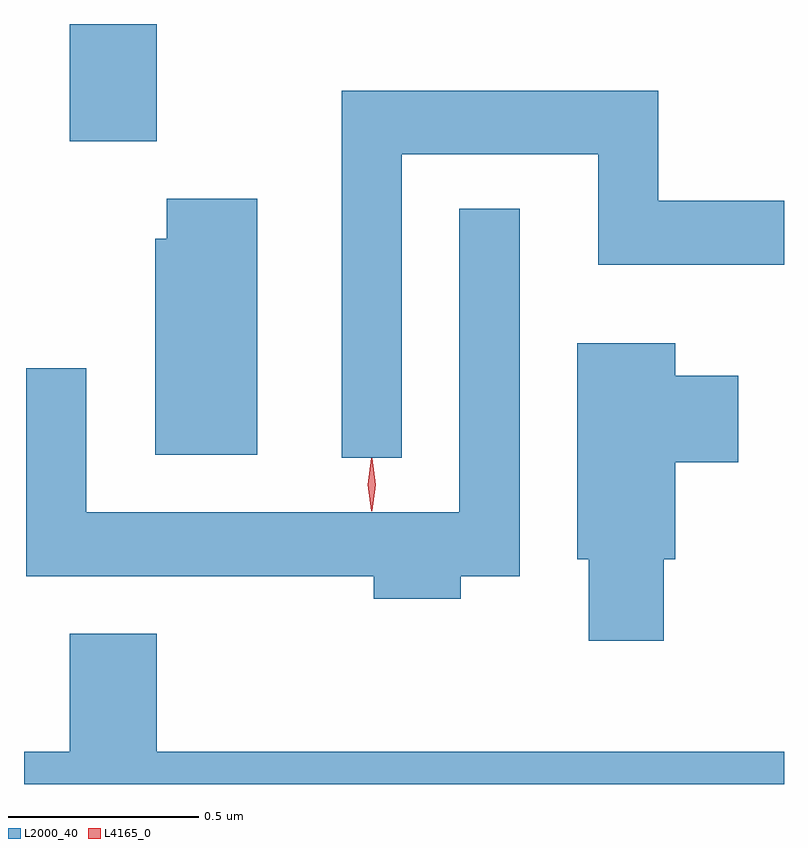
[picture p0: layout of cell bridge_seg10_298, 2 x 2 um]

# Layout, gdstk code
import gdstk
lib = gdstk.Library(unit=1e-6, precision=1e-09)
def R(c, l, rs):  # rectangles x0, y0, x1, y1
    for r in rs: c.add(gdstk.rectangle(r[:2], r[2:], *l))
def P(c, l, *ps):  # polygons
    for p in ps: c.add(gdstk.Polygon(p, *l))
L2000_40 = (2000, 40)
L4165_0 = (4165, 0)

bridge_seg10_298 = lib.new_cell('bridge_seg10_298')
R(bridge_seg10_298, L2000_40, [(1429.381,2202.371,1429.609,2202.679)])
P(bridge_seg10_298, L2000_40, [(1430.254,2202.336),(1430.771,2202.336),(1430.771,2202.046),(1431.26,2202.046),(1431.26,2202.214),(1430.929,2202.214),(1430.929,2202.504),(1430.096,2202.504),(1430.096,2201.538),(1430.254,2201.538)],
  [(1429.874,2202.219),(1429.636,2202.219),(1429.636,2202.114),(1429.606,2202.114),(1429.606,2201.546),(1429.874,2201.546)],
  [(1430.409,2201.226),(1430.564,2201.226),(1430.564,2202.193),(1430.406,2202.193),(1430.406,2201.394),(1429.424,2201.394),(1429.424,2201.773),(1429.266,2201.773),(1429.266,2201.226),(1430.181,2201.226),(1430.181,2201.166),(1430.409,2201.166)],
  [(1430.944,2201.271),(1430.974,2201.271),(1430.974,2201.526),(1431.139,2201.526),(1431.139,2201.754),(1430.974,2201.754),(1430.974,2201.839),(1430.716,2201.839),(1430.716,2201.271),(1430.746,2201.271),(1430.746,2201.056),(1430.944,2201.056)],
  [(1431.26,2200.764),(1429.609,2200.764),(1429.609,2201.074),(1429.381,2201.074),(1429.381,2200.764),(1429.26,2200.764),(1429.26,2200.679),(1431.26,2200.679)])
P(bridge_seg10_298, L4165_0, [(1430.175,2201.397),(1430.174,2201.398),(1430.165,2201.466),(1430.174,2201.536),(1430.175,2201.536),(1430.176,2201.536),(1430.185,2201.466),(1430.176,2201.398)])

lib.write_gds('bridge_seg10_298.gds')
